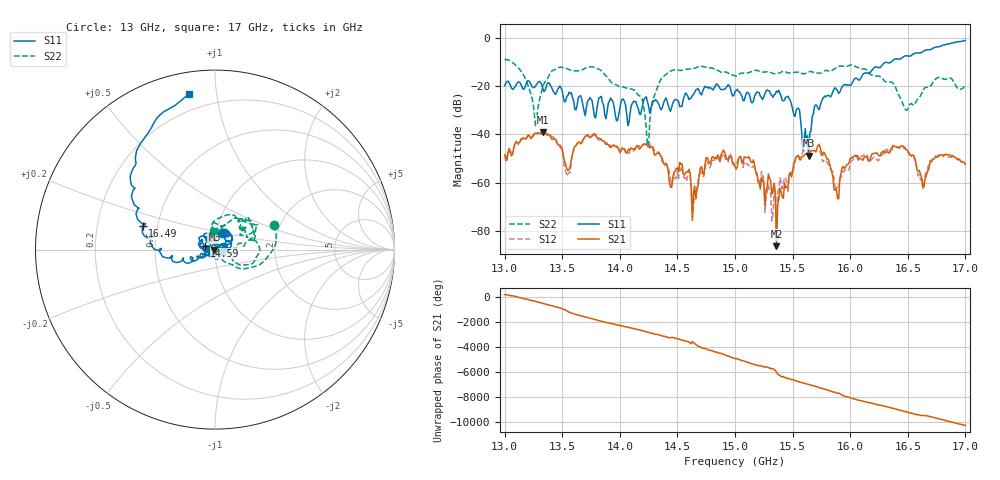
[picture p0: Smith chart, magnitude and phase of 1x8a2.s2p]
!Keysight Technologies,P9374A,MY57211807,A.19.30.04
!Date: Friday, May 08, 2026 14:09:53
!Correction: S11(C  2-Port  )
!S21(C  2-Port  )
!S12(C  2-Port  )
!S22(C  2-Port  )
!S2P File: Measurements: S11, S21, S12, S22:
# Hz S  dB  R 50
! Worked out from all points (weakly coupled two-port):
!   401 points, 13 GHz to 17 GHz, reference 50 ohm
!   highest |S21| = -39.18 dB at 13.33 GHz (marker M1); lowest = -86.3 dB at 15.36 GHz (marker M2)
!   lowest |S11| = -48.8 dB at 15.64 GHz (marker M3), VSWR 1.01, Z = 49.7 - j0.116 ohm
!   |S11| at or under -10 dB: start of sweep to 16.36 GHz
!   |S22| runs from -44.8 to -9.0 dB; largest |S21 - S12| = 0.0016
!   S11 on the Smith chart (normalised r, x): 13 GHz: 1.06, +0.20; 14.59 GHz: 0.89, +0.04; 16.49 GHz: 0.41, +0.13; 17 GHz: 0.11, +0.84
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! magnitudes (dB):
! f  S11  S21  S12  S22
! 13 GHz  -19.9  -48.5  -49.3  -9.0
! 13.27 GHz  -19.9  -39.5  -39.8  -37.0
! 13.33 GHz  -20.7  -39.2  -39.2  -20.6
! 13.55 GHz  -23.8  -55.1  -56.4  -13.0
! 13.67 GHz  -25.6  -43.6  -43.0  -13.4
! 14.13 GHz  -26.5  -46.4  -46.5  -21.8
! 14.24 GHz  -26.6  -44.6  -45.6  -44.7
! 14.34 GHz  -27.8  -47.7  -47.3  -18.8
! 14.59 GHz  -24.2  -55.6  -55.5  -13.0
! 14.65 GHz  -22.7  -61.4  -64.1  -12.6
! 14.76 GHz  -20.4  -49.8  -51.2  -12.4
! 15 GHz  -22.4  -53.4  -53.0  -15.8
! 15.14 GHz  -26.6  -51.5  -53.9  -14.1
! 15.36 GHz  -22.1  -86.3  -79.6  -14.7
! 15.64 GHz  -48.8  -47.8  -46.7  -14.2
! 15.67 GHz  -32.7  -46.6  -46.4  -14.1
! 15.88 GHz  -21.3  -62.5  -62.7  -12.4
! 16.02 GHz  -18.5  -49.3  -50.7  -11.3
! 16.34 GHz  -10.5  -47.7  -47.1  -18.4
! 16.49 GHz  -7.5  -46.3  -46.8  -30.0
! 16.62 GHz  -6.1  -57.8  -58.6  -23.1
! 17 GHz  -1.1  -52.4  -52.2  -19.7
